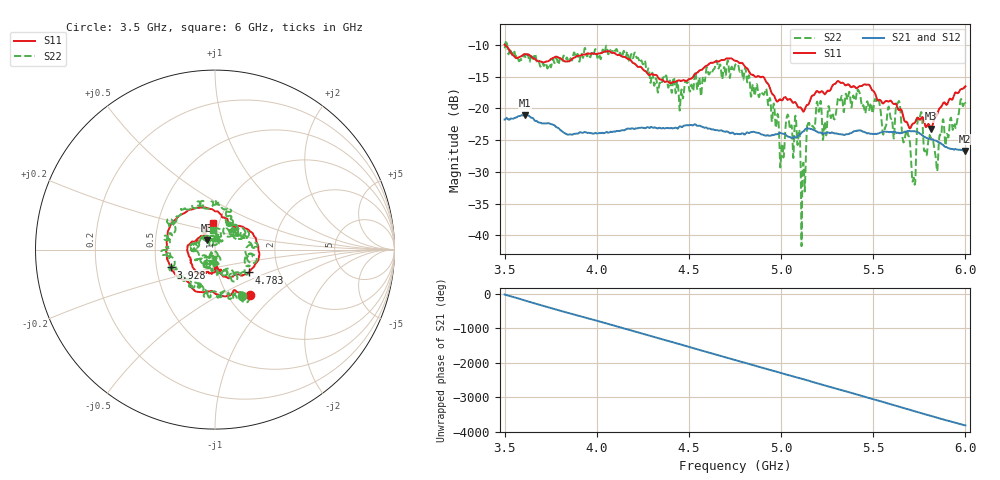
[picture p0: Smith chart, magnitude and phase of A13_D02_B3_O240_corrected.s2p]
! Created with skrf 1.9.0 (http://scikit-rf.org).
# Hz S RI R 50.0
!freq ReS11 ImS11 ReS21 ImS21 ReS12 ImS12 ReS22 ImS22
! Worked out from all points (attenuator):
!   1601 points, 3.5 GHz to 6 GHz, reference 50 ohm
!   highest |S21| = -21.04 dB at 3.609 GHz (marker M1); lowest = -26.7 dB at 5.997 GHz (marker M2)
!   lowest |S11| = -23.2 dB at 5.814 GHz (marker M3), VSWR 1.15, Z = 45.4 + j4.71 ohm
!   |S11| at or under -10 dB: 3.503 GHz to end of sweep
!   |S22| runs from -41.7 to -9.3 dB; largest |S21 - S12| = 0.00099
!   S11 on the Smith chart (normalised r, x): 3.5 GHz: 1.25, -0.71; 3.928 GHz: 0.59, -0.13; 4.783 GHz: 1.41, -0.38; 6 GHz: 0.94, +0.29
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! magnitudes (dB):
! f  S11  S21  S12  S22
! 3.5 GHz  -9.9  -21.7  -21.7  -10.5
! 3.609 GHz  -11.4  -21.0  -21.0  -11.6
! 3.917 GHz  -11.6  -23.8  -23.8  -11.2
! 3.928 GHz  -11.5  -23.8  -23.8  -11.7
! 4.334 GHz  -15.2  -23.1  -23.0  -17.2
! 4.75 GHz  -12.5  -24.1  -24.0  -13.2
! 4.783 GHz  -12.8  -24.0  -24.0  -13.9
! 4.928 GHz  -16.1  -24.2  -24.2  -19.2
! 5.005 GHz  -18.7  -23.9  -23.9  -25.5
! 5.034 GHz  -18.6  -24.4  -24.3  -21.1
! 5.088 GHz  -19.5  -24.5  -24.5  -25.4
! 5.119 GHz  -20.4  -23.6  -23.6  -28.7
! 5.167 GHz  -18.0  -23.3  -23.2  -22.8
! 5.419 GHz  -16.6  -23.5  -23.5  -17.1
! 5.584 GHz  -18.9  -23.7  -23.7  -19.7
! 5.638 GHz  -20.2  -23.8  -23.8  -18.9
! 5.719 GHz  -22.3  -23.6  -23.5  -31.1
! 5.752 GHz  -21.8  -23.9  -23.9  -21.5
! 5.814 GHz  -23.2  -24.9  -24.8  -24.7
! 5.844 GHz  -21.1  -25.1  -25.1  -29.3
! 5.997 GHz  -16.6  -26.7  -26.6  -18.8
! 6 GHz  -16.5  -26.7  -26.6  -19.2
